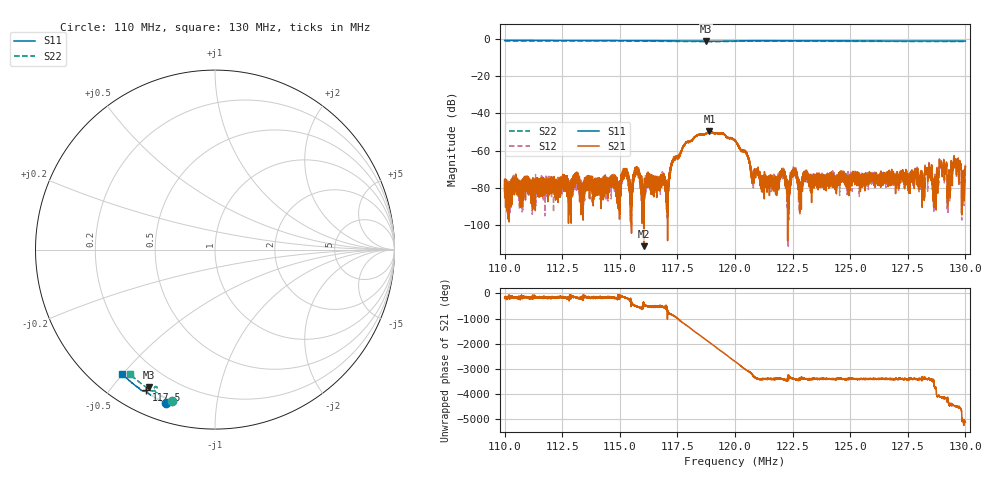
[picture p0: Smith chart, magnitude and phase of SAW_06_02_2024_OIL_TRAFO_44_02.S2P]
!Agilent Technologies,E5071C,MY46520923,B.12.03
!Date: Tue Feb 06 10:05:48 2024
!Data & Calibration Information:
!Freq	S11:SOLT2(ON)	S21:SOLT2(ON)	S12:SOLT2(ON)	S22:SOLT2(ON)
!PortZ  Port1:50+j0  Port2:50+j0
!Above PortZ is port z conversion or system Z0 setting when saving the data.
!When reading, reference impedance value at option line is always used.
# Hz S dB R 50
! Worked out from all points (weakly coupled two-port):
!   10000 points, 110 MHz to 130 MHz, reference 50 ohm
!   highest |S21| = -49.57 dB at 118.9 MHz (marker M1); lowest = -111.2 dB at 116 MHz (marker M2)
!   lowest |S11| = -1.4 dB at 118.7 MHz (marker M3), VSWR 12.36, Z = 5.62 - j31.1 ohm
!   |S11| at or under -10 dB: nowhere
!   |S22| runs from -1.6 to -1.1 dB; largest |S21 - S12| = 0.0002
!   S11 on the Smith chart (normalised r, x): 110 MHz: 0.08, -0.73; 117.5 MHz: 0.10, -0.62; 130 MHz: 0.09, -0.50
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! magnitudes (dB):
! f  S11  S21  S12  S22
! 110 MHz  -0.9  -81.5  -77.8  -1.1
! 113.3 MHz  -1.0  -77.7  -78.5  -1.2
! 115 MHz  -1.0  -83.4  -84.3  -1.3
! 115.2 MHz  -1.0  -70.3  -70.0  -1.3
! 115.5 MHz  -1.1  -85.2  -82.7  -1.3
! 115.7 MHz  -1.1  -71.6  -69.2  -1.3
! 116 MHz  -1.1  -111.2  -83.9  -1.3
! 116.7 MHz  -1.1  -77.2  -80.2  -1.3
! 117.1 MHz  -1.1  -89.6  -83.6  -1.3
! 117.5 MHz  -1.2  -63.6  -63.9  -1.4
! 118.7 MHz  -1.4  -50.8  -50.9  -1.6
! 118.9 MHz  -1.4  -49.6  -49.8  -1.6
! 120 MHz  -1.2  -54.4  -54.4  -1.4
! 121.2 MHz  -1.1  -77.5  -76.2  -1.3
! 123.3 MHz  -1.1  -80.1  -78.0  -1.4
! 126.7 MHz  -1.2  -73.2  -72.5  -1.4
! 128.5 MHz  -1.2  -72.8  -73.8  -1.5
! 128.7 MHz  -1.2  -79.8  -80.4  -1.5
! 129 MHz  -1.2  -67.1  -67.5  -1.5
! 129.3 MHz  -1.3  -76.1  -71.9  -1.5
! 129.6 MHz  -1.3  -65.5  -65.4  -1.5
! 130 MHz  -1.3  -68.5  -66.5  -1.5
